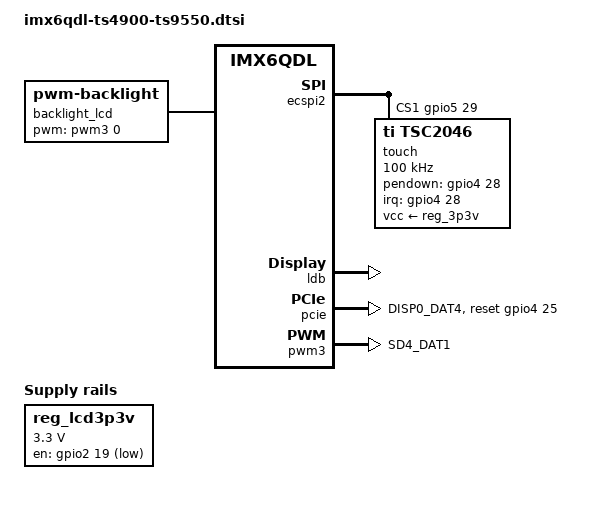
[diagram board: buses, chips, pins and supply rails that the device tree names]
/*
 * Copyright 2017 Technologic Systems
 *
 * This file is dual-licensed: you can use it either under the terms
 * of the GPL or the X11 license, at your option. Note that this dual
 * licensing only applies to this file, and not this project as a
 * whole.
 *
 *  a) This file is free software; you can redistribute it and/or
 *     modify it under the terms of the GNU General Public License
 *     version 2 as published by the Free Software Foundation.
 *
 *     This file is distributed in the hope that it will be useful
 *     but WITHOUT ANY WARRANTY; without even the implied warranty of
 *     MERCHANTABILITY or FITNESS FOR A PARTICULAR PURPOSE.  See the
 *     GNU General Public License for more details.
 *
 * Or, alternatively
 *
 *  b) Permission is hereby granted, free of charge, to any person
 *     obtaining a copy of this software and associated documentation
 *     files (the "Software"), to deal in the Software without
 *     restriction, including without limitation the rights to use
 *     copy, modify, merge, publish, distribute, sublicense, and/or
 *     sell copies of the Software, and to permit persons to whom the
 *     Software is furnished to do so, subject to the following
 *     conditions:
 *
 *     The above copyright notice and this permission notice shall be
 *     included in all copies or substantial portions of the Software.
 *
 *     THE SOFTWARE IS PROVIDED , WITHOUT WARRANTY OF ANY KIND
 *     EXPRESS OR IMPLIED, INCLUDING BUT NOT LIMITED TO THE WARRANTIES
 *     OF MERCHANTABILITY, FITNESS FOR A PARTICULAR PURPOSE AND
 *     NONINFRINGEMENT. IN NO EVENT SHALL THE AUTHORS OR COPYRIGHT
 *     HOLDERS BE LIABLE FOR ANY CLAIM, DAMAGES OR OTHER LIABILITY
 *     WHETHER IN AN ACTION OF CONTRACT, TORT OR OTHERWISE, ARISING
 *     FROM, OUT OF OR IN CONNECTION WITH THE SOFTWARE OR THE USE OR
 *     OTHER DEALINGS IN THE SOFTWARE.
 */

#include "imx6qdl-ts4900.dtsi"
#include <dt-bindings/interrupt-controller/irq.h>

/ {
	aliases {
		ethernet0 = &fec;
		mxcfb0 = &mxcfb0;
	};

	backlight_lcd {
		compatible = "pwm-backlight";
		pwms = <&pwm3 0 5000000>;
		brightness-levels = <0 128 140 160 180 200 220 240 255>;
		default-brightness-level = <8>;
	};

	mxcfb0: fb@0 {
		compatible = "fsl,mxc_sdc_fb";
		disp_dev = "ldb";
		interface_pix_fmt = "RGB666";
		default_bpp = <16>;
		int_clk = <0>;
		late_init = <0>;
		status = "okay";
	};

	regulators {
		compatible = "simple-bus";

		reg_lcd3p3v: lcd3p3v {
			compatible = "regulator-fixed";
			pinctrl-names = "default";
			pinctrl-0 = <&pinctrl_lcd3p3v>;
			regulator-name = "LCD3P3V";
			regulator-min-microvolt = <3300000>;
			regulator-max-microvolt = <3300000>;
			gpio = <&gpio2 19 0>;
			regulator-boot-on;
			startup-delay-us = <60000>;
		};
	};
};

&ecspi2 {
	fsl,spi-num-chipselects = <2>;
	cs-gpios = <&gpio6 2 0>, <&gpio5 29 0>;
	pinctrl-names = "default";
	pinctrl-0 = <&pinctrl_ecspi2>;
	status = "okay";

	touch: tsc2046@1 {
		compatible = "ti,tsc2046";
		reg = <1>;
		interrupt-parent = <&gpio4>;
		interrupts = <28 IRQ_TYPE_EDGE_FALLING>;
		vcc-supply = <&reg_3p3v>;
		spi-max-frequency = <100000>;
		pendown-gpio = <&gpio4 28 0>;
		ti,penirq-recheck-delay-usecs = /bits/ 16 <5000>;
		ti,vref-mv = <3300>;
		ti,swap-xy;
		ti,keep-vref-on;
		ti,settle-delay-usec = /bits/ 16 <5000>;
		ti,vref-delay-usecs = /bits/ 16 <0>;
		ti,x-plate-ohms = /bits/ 16 <715>;
		ti,y-plate-ohms = /bits/ 16 <325>;
		ti,debounce-rep = /bits/ 16 <3>;
		ti,debounce-tol = /bits/ 16 <65535>;
		ti,debounce-max = /bits/ 16 <0>;
		ti,pendown-gpio-debounce = <100000>;
		linux,wakeup;
	};
};

&can1 {
	status = "disabled";
};

&can2 {
	status = "disabled";
};

&iomuxc {
	pinctrl-names = "default";
	pinctrl-0 = <&pinctrl_misc>;

	imx6-ts4900 {
		pinctrl_ecspi2_touch: ecspi2 {
			fsl,pins = <
				MX6QDL_PAD_CSI0_DAT8__ECSPI2_SCLK	0x100b1
				MX6QDL_PAD_CSI0_DAT9__ECSPI2_MOSI	0x100b1
				MX6QDL_PAD_CSI0_DAT10__ECSPI2_MISO	0x100b1
				MX6QDL_PAD_CSI0_DAT11__GPIO5_IO29	0x100b1 // Offboard CS0#
				MX6QDL_PAD_CSI0_DAT16__GPIO6_IO02	0x100b1 // FPGA CS1#
				MX6QDL_PAD_CSI0_VSYNC__GPIO5_IO21	0x1b0b1 // FPGA_RESET#
				MX6QDL_PAD_CSI0_DATA_EN__GPIO5_IO20	0x1b0b1 // FPGA_DONE
				MX6QDL_PAD_GPIO_3__XTALOSC_REF_CLK_24M	0x10    // FPGA 24MHZ
				MX6QDL_PAD_GPIO_4__GPIO1_IO04		0x1b0b1 // FPGA_IRQ
			>;
		};

		pinctrl_pwm3: pwm3grp {
			fsl,pins = <
				MX6QDL_PAD_SD4_DAT1__PWM3_OUT		0x1b0b1
			>;
		};

		pinctrl_pwm3: pwm3grp {
			fsl,pins = <
				MX6QDL_PAD_SD4_DAT1__PWM3_OUT		0x1b0b1
			>;
		};

		pinctrl_lcd3p3v: lcdreggrp {
			fsl,pins = <
				MX6QDL_PAD_EIM_A19__GPIO2_IO19		0x1b0b1 // EN_REMOTE_LCD
			>;
		};

		pinctrl_misc: misc {
			fsl,pins = <
				MX6QDL_PAD_EIM_A17__GPIO2_IO21		0x1b0b1 // OFF_BD_RESET
				MX6QDL_PAD_DISP0_DAT8__GPIO4_IO29	0x1b0b1 // CN1_19
				MX6QDL_PAD_DISP0_DAT9__GPIO4_IO30	0x1b0b1 // CN1_21
				MX6QDL_PAD_DISP0_DAT10__GPIO4_IO31	0x1b0b1 // CN1_23
				MX6QDL_PAD_DISP0_DAT11__GPIO5_IO05	0x1b0b1 // CN1_25
				MX6QDL_PAD_DISP0_DAT12__GPIO5_IO06	0x1b0b1 // CN1_27
				MX6QDL_PAD_DISP0_DAT13__GPIO5_IO07	0x1b0b1 // CN1_31
				MX6QDL_PAD_DISP0_DAT14__GPIO5_IO08	0x1b0b1 // TOUCH_SPI_CS#
				MX6QDL_PAD_DISP0_DAT15__GPIO5_IO09	0x1b0b1 // CN1_35
				MX6QDL_PAD_DISP0_DAT16__GPIO5_IO10	0x1b0b1 // TOUCH_SPI_MISO
				MX6QDL_PAD_DISP0_DAT17__GPIO5_IO11	0x1b0b1 // CN1_39
				MX6QDL_PAD_DISP0_DAT18__GPIO5_IO12	0x1b0b1 // TOUCH_SPI_MOSI
				MX6QDL_PAD_DISP0_DAT19__GPIO5_IO13	0x1b0b1 // CN1_43
				MX6QDL_PAD_DISP0_DAT20__GPIO5_IO14	0x1b0b1 // TOUCH_SPI_CLK
				MX6QDL_PAD_DI0_DISP_CLK__GPIO4_IO16	0x1b0b1 // CN1_49
				MX6QDL_PAD_DI0_PIN2__GPIO4_IO18		0x1b0b1 // CN1_51
				MX6QDL_PAD_DI0_PIN3__GPIO4_IO19		0x1b0b1 // CN1_53
				MX6QDL_PAD_DI0_PIN15__GPIO4_IO17	0x1b0b1 // CN1_55
				MX6QDL_PAD_EIM_D31__GPIO3_IO31		0x1b0b1 // CN1_65
				MX6QDL_PAD_KEY_ROW4__GPIO4_IO15		0x1b0b1 // CN1_69
				MX6QDL_PAD_KEY_COL4__GPIO4_IO14		0x1b0b1 // CN1_71
				MX6QDL_PAD_EIM_A21__GPIO2_IO17		0x1b0b1 // CN1_77
				MX6QDL_PAD_EIM_BCLK__GPIO6_IO31		0x1b0b1 // CN1_79
				MX6QDL_PAD_EIM_A18__GPIO2_IO20		0x1b0b1 // CN1_81
				MX6QDL_PAD_EIM_OE__GPIO2_IO25		0x1b0b1 // CN1_83
				MX6QDL_PAD_EIM_A20__GPIO2_IO18		0x1b0b1 // CN1_85
				MX6QDL_PAD_EIM_A22__GPIO2_IO16		0x1b0b1 // CN1_89
				MX6QDL_PAD_EIM_A23__GPIO6_IO06		0x1b0b1 // CN1_91
				MX6QDL_PAD_EIM_A24__GPIO5_IO04		0x1b0b1 // CN1_93
				MX6QDL_PAD_EIM_WAIT__GPIO5_IO00		0x1b0b1 // CN1_97
				MX6QDL_PAD_EIM_EB1__GPIO2_IO29		0x1b0b1 // CN1_99
				MX6QDL_PAD_DISP0_DAT1__GPIO4_IO22	0x1b0b1 // CN1_04
				MX6QDL_PAD_DISP0_DAT0__GPIO4_IO21	0x1b0b1 // CN1_24
				MX6QDL_PAD_DISP0_DAT1__GPIO4_IO22	0x1b0b1 // CN1_26
				MX6QDL_PAD_DISP0_DAT2__GPIO4_IO23	0x1b0b1 // CN1_28
				MX6QDL_PAD_DISP0_DAT3__GPIO4_IO24	0x1b0b1 // CN1_30
				MX6QDL_PAD_DISP0_DAT4__GPIO4_IO25	0x1b0b1 // CN1_32
				MX6QDL_PAD_DISP0_DAT5__GPIO4_IO26	0x1b0b1 // CN1_34
				MX6QDL_PAD_DISP0_DAT6__GPIO4_IO27	0x1b0b1 // CN1_38
				MX6QDL_PAD_DISP0_DAT7__GPIO4_IO28	0x1b0b1 // CN1_40
				MX6QDL_PAD_DISP0_DAT21__GPIO5_IO15	0x1b0b1 // CN1_42
				MX6QDL_PAD_DISP0_DAT22__GPIO5_IO16	0x1b0b1 // CN1_SEL_AN_3.3V
				MX6QDL_PAD_DISP0_DAT23__GPIO5_IO17	0x1b0b1 // CN1_46
				MX6QDL_PAD_EIM_DA15__GPIO3_IO15		0x1b0b1 // CN1_64
				MX6QDL_PAD_EIM_DA14__GPIO3_IO14		0x1b0b1 // CN1_66
				MX6QDL_PAD_EIM_DA13__GPIO3_IO13		0x1b0b1 // CN1_68
				MX6QDL_PAD_EIM_DA12__GPIO3_IO12		0x1b0b1 // CN1_70
				MX6QDL_PAD_EIM_DA11__GPIO3_IO11		0x1b0b1 // CN1_72
				MX6QDL_PAD_EIM_DA10__GPIO3_IO10		0x1b0b1 // CN1_74
				MX6QDL_PAD_EIM_DA9__GPIO3_IO09		0x1b0b1 // CN1_76
				MX6QDL_PAD_EIM_DA8__GPIO3_IO08		0x1b0b1 // CN1_78
				MX6QDL_PAD_EIM_DA7__GPIO3_IO07		0x1b0b1 // CN1_80
				MX6QDL_PAD_EIM_DA6__GPIO3_IO06		0x1b0b1 // CN1_82
				MX6QDL_PAD_EIM_DA5__GPIO3_IO05		0x1b0b1 // CN1_84
				MX6QDL_PAD_EIM_DA4__GPIO3_IO04		0x1b0b1 // CN1_86
				MX6QDL_PAD_EIM_DA3__GPIO3_IO03		0x1b0b1 // CN1_88
				MX6QDL_PAD_EIM_DA2__GPIO3_IO02		0x1b0b1 // CN1_90
				MX6QDL_PAD_EIM_DA1__GPIO3_IO01		0x1b0b1 // CN1_92
				MX6QDL_PAD_EIM_DA0__GPIO3_IO00		0x1b0b1 // CN1_94
				MX6QDL_PAD_EIM_LBA__GPIO2_IO27		0x1b0b1 // CN1_96
				MX6QDL_PAD_EIM_RW__GPIO2_IO26		0x1b0b1 // CN1_98
				MX6QDL_PAD_EIM_CS0__GPIO2_IO23		0x1b0b1 // CN1_100
				MX6QDL_PAD_CSI0_DAT4__GPIO5_IO22	0x1b0b1 // CN2_36
				MX6QDL_PAD_CSI0_DAT6__GPIO5_IO24	0x1b0b1 // CN2_38
				MX6QDL_PAD_CSI0_DAT5__GPIO5_IO23	0x1b0b1 // CN2_40
				MX6QDL_PAD_CSI0_DAT7__GPIO5_IO25	0x1b0b1 // CN2_42
				MX6QDL_PAD_CSI0_DAT12__GPIO5_IO30	0x1b0b1 // CN2_52
				MX6QDL_PAD_GPIO_0__GPIO1_IO00		0x1b0b1 // CN2_54
				MX6QDL_PAD_CSI0_DAT17__GPIO6_IO03	0x1b0b1 // CN2_56
				MX6QDL_PAD_SD4_DAT7__GPIO2_IO15		0x1b0b1 // CN2_58
				MX6QDL_PAD_SD3_RST__GPIO7_IO08		0x1b0b1 // CN2_60
				MX6QDL_PAD_GPIO_16__GPIO7_IO11		0x1b0b1 // CN2_62
				MX6QDL_PAD_GPIO_17__GPIO7_IO12		0x1b0b1 // CN2_64
				MX6QDL_PAD_CSI0_DAT13__GPIO5_IO31	0x1b0b1 // CN2_66
				MX6QDL_PAD_GPIO_19__GPIO4_IO05		0x1b0b1 // CN2_68
				MX6QDL_PAD_CSI0_MCLK__GPIO5_IO19	0x1b0b1 // CN2_70
				MX6QDL_PAD_CSI0_PIXCLK__GPIO5_IO18	0x1b0b1 // CN2_72
				MX6QDL_PAD_KEY_COL2__GPIO4_IO10		0x1b0b1 // CN1_97
				MX6QDL_PAD_KEY_ROW2__GPIO4_IO11		0x1b0b1 // CN1_99
			>;
		};

		pinctrl_pcie: pciegrp {
			fsl,pins = <
				MX6QDL_PAD_DISP0_DAT4__GPIO4_IO25	0x1b0b0 // PCIE_RESET
			>;
		};
	};
};

&ldb {
	status = "okay";

	lvds-channel@0 {
		fsl,data-mapping = "spwg";
		fsl,data-width = <18>;
		status = "okay";
		primary;
		crtc = "ipu1-di0";

		display-timings {
			native-mode = <&timing0>;

			timing0: okaya-wvga1 {
				clock-frequency = <33000000>;
				hactive = <800>;
				vactive = <480>;
				hback-porch = <50>;
				hfront-porch = <70>;
				vback-porch = <2>;
				vfront-porch = <2>;
				hsync-len = <50>;
				vsync-len = <50>;
				de-active = <1>;
				hsync-active = <1>;
				vsync-active = <1>;
				pixelclk-active = <0>;
			};
		};
	};
};

&pcie {
	status = "okay";
	pinctrl-names = "default";
	pinctrl-0 = <&pinctrl_pcie>;
	reset-gpio = <&gpio4 25 0>;
};

&pwm3 {
	pinctrl-names = "default";
	pinctrl-0 = <&pinctrl_pwm3>;
	status = "okay";
};
